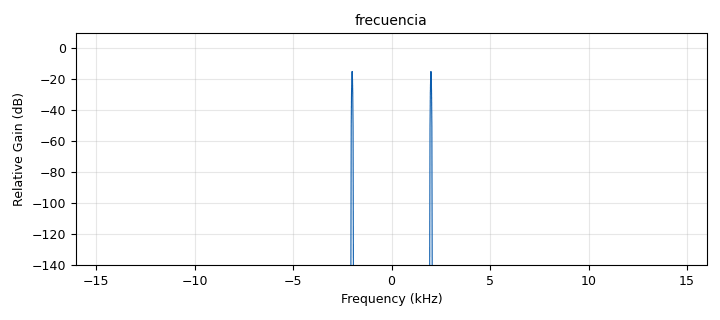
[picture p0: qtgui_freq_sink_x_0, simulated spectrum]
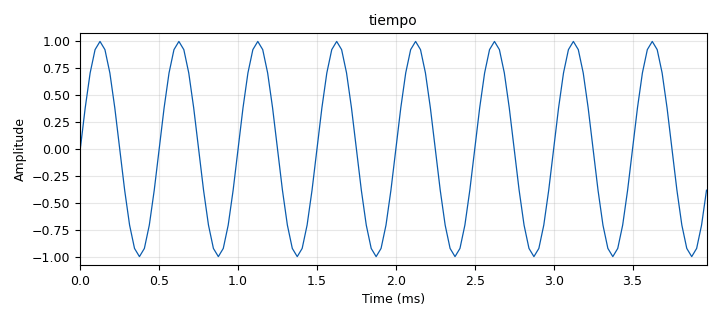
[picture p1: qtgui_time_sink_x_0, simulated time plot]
options:
  parameters:
    author: Nicolas_Murilllo_2164692
    copyright: UIS
    generate_options: qt_gui
    id: muestreo
    output_language: python
    title: muestreo
  states: {}

blocks:
- name: freq
  id: variable_qtgui_range
  parameters:
    label: frequency
    orient: Qt.Horizontal
    start: '1000'
    step: '1000'
    stop: '40000'
    value: '2000'
  states: {}
- name: samp_rate
  id: variable
  parameters:
    value: '32000'
  states: {}
- name: analog_sig_source_x_0
  id: analog_sig_source_x
  parameters:
    amp: '1'
    freq: freq
    offset: '0'
    phase: '0'
    samp_rate: samp_rate
    type: float
    waveform: analog.GR_SIN_WAVE
  states: {}
- name: blocks_throttle_0
  id: blocks_throttle
  parameters:
    samples_per_second: samp_rate
    type: float
  states: {}
- name: qtgui_freq_sink_x_0
  id: qtgui_freq_sink_x
  parameters:
    bw: samp_rate
    fc: '0'
    fftsize: '2048'
    name: '"frecuencia"'
    type: float
    wintype: firdes.WIN_BLACKMAN_hARRIS
  states: {}
- name: qtgui_time_sink_x_0
  id: qtgui_time_sink_x
  parameters:
    name: '"tiempo"'
    size: '128'
    srate: samp_rate
    type: float
  states: {}

connections:
- [analog_sig_source_x_0, '0', blocks_throttle_0, '0']
- [blocks_throttle_0, '0', qtgui_freq_sink_x_0, '0']
- [blocks_throttle_0, '0', qtgui_time_sink_x_0, '0']

metadata:
  file_format: 1
